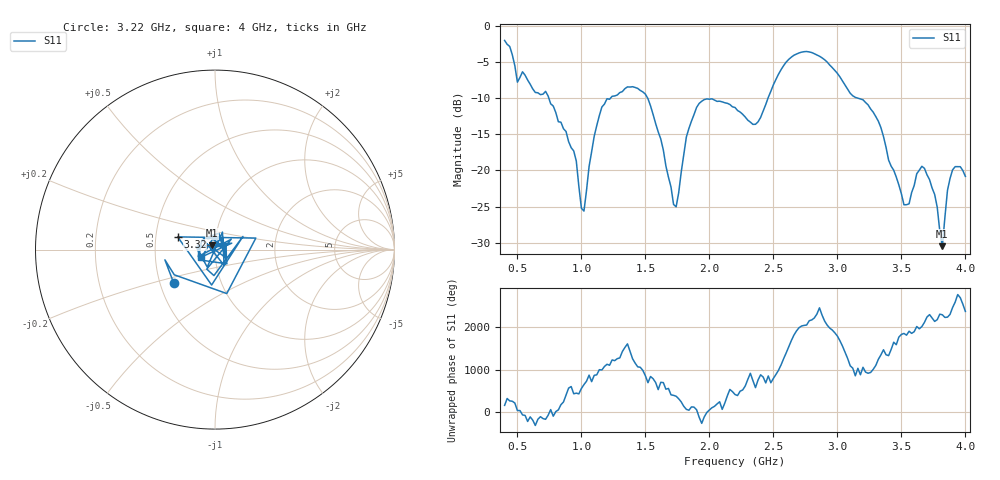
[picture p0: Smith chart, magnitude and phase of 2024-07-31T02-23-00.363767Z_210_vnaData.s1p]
!Created with skrf (http://scikit-rf.org).
# Hz S RI R 50.0
!freq ReS11 ImS11
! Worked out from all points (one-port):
!   181 points, 400 MHz to 4 GHz, reference 50 ohm
!   lowest |S11| = -30.5 dB at 3.82 GHz (marker M1), VSWR 1.06, Z = 48.1 + j2.23 ohm
!   |S11| at or under -10 dB: 746.1 MHz to 1.226 GHz (479.8 MHz wide, 48.7 % of centre); 1.519 GHz to 2.457 GHz (938.4 MHz wide, 47.2 % of centre); 3.165 GHz to end of sweep
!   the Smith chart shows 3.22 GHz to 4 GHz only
!   S11 on the Smith chart (normalised r, x): 3.22 GHz: 0.59, -0.24; 3.32 GHz: 0.65, +0.10; 4 GHz: 0.85, -0.07
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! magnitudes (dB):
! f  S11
! 400 MHz  -2.0
! 500 MHz  -7.8
! 720 MHz  -9.0
! 860 MHz  -14.2
! 960 MHz  -18.7
! 1.02 GHz  -25.6
! 1.16 GHz  -11.2
! 1.3 GHz  -9.2
! 1.5 GHz  -9.4
! 1.62 GHz  -15.6
! 1.72 GHz  -24.7
! 1.76 GHz  -23.1
! 1.82 GHz  -15.4
! 1.92 GHz  -10.7
! 2.2 GHz  -11.3
! 2.36 GHz  -13.6
! 2.66 GHz  -4.0
! 2.88 GHz  -4.4
! 3.1 GHz  -9.3
! 3.22 GHz  -10.6
! 3.32 GHz  -13.2
! 3.56 GHz  -24.6
! 3.68 GHz  -19.7
! 3.76 GHz  -23.3
! 3.82 GHz  -30.5
! 3.86 GHz  -22.8
! 3.9 GHz  -19.9
! 4 GHz  -20.8
